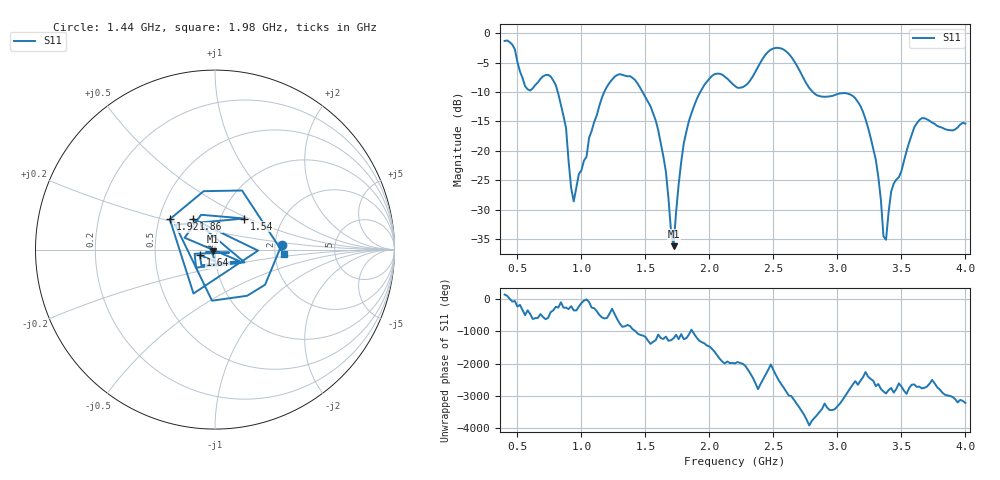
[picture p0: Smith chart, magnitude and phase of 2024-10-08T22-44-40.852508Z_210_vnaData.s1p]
! Created with skrf (http://scikit-rf.org).
# Hz S RI R 50.0
!freq ReS11 ImS11
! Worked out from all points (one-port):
!   181 points, 400 MHz to 4 GHz, reference 50 ohm
!   lowest |S11| = -36.2 dB at 1.72 GHz (marker M1), VSWR 1.03, Z = 48.8 - j0.97 ohm
!   |S11| at or under -10 dB: 815.2 MHz to 1.179 GHz (363.3 MHz wide, 36.4 % of centre); 1.478 GHz to 1.929 GHz (451.3 MHz wide, 26.5 % of centre); 2.808 GHz to end of sweep
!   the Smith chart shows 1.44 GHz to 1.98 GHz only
!   S11 on the Smith chart (normalised r, x): 1.44 GHz: 2.17, +0.13; 1.54 GHz: 1.29, +0.48; 1.64 GHz: 0.84, -0.05; 1.86 GHz: 0.74, +0.26; 1.92 GHz: 0.57, +0.21; 1.98 GHz: 2.25, -0.14
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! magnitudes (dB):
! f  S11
! 400 MHz  -1.3
! 580 MHz  -9.5
! 760 MHz  -7.4
! 860 MHz  -14.1
! 940 MHz  -28.6
! 1.16 GHz  -11.0
! 1.3 GHz  -7.0
! 1.44 GHz  -8.6
! 1.54 GHz  -12.4
! 1.64 GHz  -20.9
! 1.72 GHz  -36.2
! 1.76 GHz  -25.7
! 1.86 GHz  -13.6
! 1.92 GHz  -10.4
! 1.98 GHz  -8.3
! 2.2 GHz  -9.0
! 2.5 GHz  -2.6
! 2.66 GHz  -4.7
! 2.84 GHz  -10.6
! 3.1 GHz  -10.4
! 3.26 GHz  -17.8
! 3.32 GHz  -24.5
! 3.36 GHz  -34.6
! 3.38 GHz  -35.1
! 3.42 GHz  -26.9
! 3.56 GHz  -18.6
! 3.66 GHz  -14.5
! 4 GHz  -15.4
